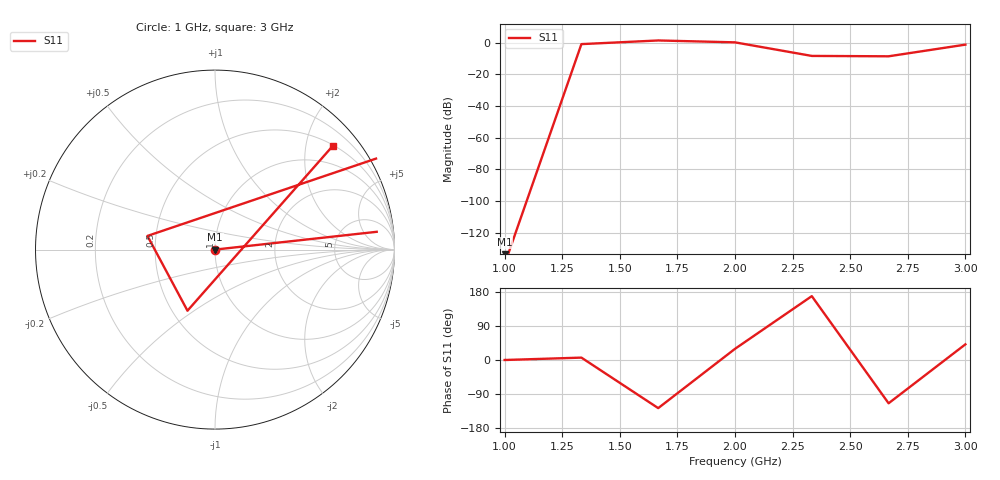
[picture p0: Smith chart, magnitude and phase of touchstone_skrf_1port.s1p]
! Created with skrf 1.9.0 (http://scikit-rf.org).
# Hz S RI R 50.0
!freq ReS11 ImS11
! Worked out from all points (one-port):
!   7 points, 1 GHz to 3 GHz, reference 50 ohm
!   lowest |S11| = -140.0 dB at 1 GHz (marker M1), VSWR 1.00, Z = 50 - j2.5e-10 ohm
!   |S11| at or under -10 dB: start of sweep to 1.311 GHz
1e9  1e-07 -2.5e-12
1.333333e9  0.9009 0.0992
1.666667e9  -0.7117 -0.9449
2e9  0.8973 0.507
2.333333e9  -0.3763 0.0763
2.666667e9  -0.1533 -0.3405
3e9  0.6554 0.5769
